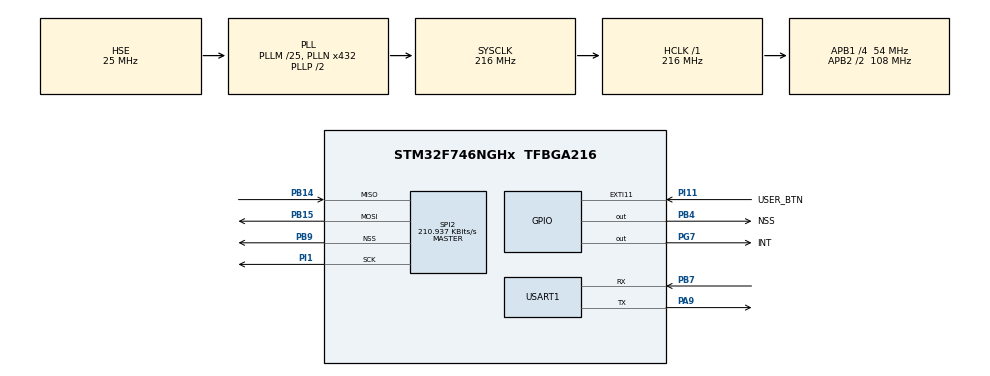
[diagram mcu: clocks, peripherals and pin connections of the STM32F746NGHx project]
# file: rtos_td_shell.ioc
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FREERTOS.Tasks01=defaultTask,0,128,StartDefaultTask,Default,NULL,Dynamic,NULL,NULL
FREERTOS.configCHECK_FOR_STACK_OVERFLOW=2
FREERTOS.configGENERATE_RUN_TIME_STATS=1
FREERTOS.configTOTAL_HEAP_SIZE=153600
FREERTOS.configUSE_STATS_FORMATTING_FUNCTIONS=1
FREERTOS.configUSE_TRACE_FACILITY=1
Mcu.Family=STM32F7
Mcu.Name=STM32F746NGHx
Mcu.Package=TFBGA216
NVIC.PriorityGroup=NVIC_PRIORITYGROUP_4
NVIC.TIM2_IRQn=true\:5\:0\:false\:false\:true\:true\:true\:true\:true
NVIC.USART1_IRQn=true\:5\:0\:false\:false\:true\:true\:true\:true\:true
PA13.Mode=Serial_Wire
PA13.Signal=SYS_JTMS-SWDIO
PA14.Mode=Serial_Wire
PA14.Signal=SYS_JTCK-SWCLK
PA9.Mode=Asynchronous
PA9.Signal=USART1_TX
PB14.Mode=Full_Duplex_Master
PB14.Signal=SPI2_MISO
PB15.Mode=Full_Duplex_Master
PB15.Signal=SPI2_MOSI
PB4.GPIO_Label=NSS
PB4.Signal=GPIO_Output
PB7.Mode=Asynchronous
PB7.Signal=USART1_RX
PB9.Mode=NSS_Signal_Hard_Output
PB9.Signal=SPI2_NSS
PG7.GPIO_Label=INT
PG7.Signal=GPIO_Output
PH0/OSC_IN.Mode=HSE-External-Oscillator
PH0/OSC_IN.Signal=RCC_OSC_IN
PH1/OSC_OUT.Mode=HSE-External-Oscillator
PH1/OSC_OUT.Signal=RCC_OSC_OUT
PI1.Mode=Full_Duplex_Master
PI1.Signal=SPI2_SCK
PI11.GPIO_Label=USER_BTN
PI11.Signal=GPXTI11
ProjectManager.HeapSize=0x200
ProjectManager.StackSize=0x400
ProjectManager.TargetToolchain=STM32CubeIDE
RCC.AHBFreq_Value=216000000
RCC.APB1CLKDivider=RCC_HCLK_DIV4
RCC.APB1Freq_Value=54000000
RCC.APB1TimFreq_Value=108000000
RCC.APB2CLKDivider=RCC_HCLK_DIV2
RCC.APB2Freq_Value=108000000
RCC.APB2TimFreq_Value=216000000
RCC.CortexFreq_Value=216000000
RCC.HCLKFreq_Value=216000000
RCC.HSE_VALUE=25000000
RCC.HSI_VALUE=16000000
RCC.LSE_VALUE=32768
RCC.PLLM=25
RCC.PLLN=432
RCC.PLLSourceVirtual=RCC_PLLSOURCE_HSE
RCC.SYSCLKFreq_VALUE=216000000
RCC.SYSCLKSource=RCC_SYSCLKSOURCE_PLLCLK
RCC.USBFreq_Value=216000000
RCC.VCOOutputFreq_Value=432000000
SPI2.BaudRatePrescaler=SPI_BAUDRATEPRESCALER_256
SPI2.CLKPhase=SPI_PHASE_2EDGE
SPI2.CLKPolarity=SPI_POLARITY_HIGH
SPI2.CalculateBaudRate=210.937 KBits/s
SPI2.DataSize=SPI_DATASIZE_8BIT
SPI2.Direction=SPI_DIRECTION_2LINES
SPI2.Mode=SPI_MODE_MASTER
SPI2.VirtualNSS=VM_NSSHARD
SPI2.VirtualType=VM_MASTER
TIM2.Prescaler=0
USART1.VirtualMode-Asynchronous=VM_ASYNC
VP_FREERTOS_VS_CMSIS_V1.Mode=CMSIS_V1
VP_TIM2_VS_ClockSourceINT.Mode=Internal
board=STM32F746G-DISCO

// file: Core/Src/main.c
/* USER CODE BEGIN Header */
/**
 ******************************************************************************
 * @file           : main.c
 * @brief          : Main program body
 ******************************************************************************
 * @attention
 *
 * Copyright (c) 2022 STMicroelectronics.
 * All rights reserved.
 *
 * This software is licensed under terms that can be found in the LICENSE file
 * in the root directory of this software component.
 * If no LICENSE file comes with this software, it is provided AS-IS.
 *
 ******************************************************************************
 */
/* USER CODE END Header */
#include "main.h"
#include "cmsis_os.h"
#include "spi.h"
#include "tim.h"
#include "usart.h"
#include "gpio.h"

/* USER CODE BEGIN Includes */
#include <stdio.h>
#include "shell.h"
#include <stdlib.h>
#include "stm32f7xx_hal_tim.h"

/* USER CODE END Includes */

void SystemClock_Config(void);
void MX_FREERTOS_Init(void);

/* USER CODE BEGIN 0 */

TaskHandle_t handle_TaskShell;
TaskHandle_t handle_Task_led;
TaskHandle_t handle_Task_bidon;
TaskHandle_t handle_vATaskFunction;

static int leddelay = 1;

int __io_putchar(int ch)
{
	HAL_UART_Transmit(&huart1, (uint8_t*)&ch, 1, HAL_MAX_DELAY);

	return ch;
}

//TD 4.2.6
int fonction(int argc, char ** argv)
{
	printf("argc = %d\r\n", argc);

	for (int itr = 0; itr < argc; itr++)
	{
		printf("argv[%d] = %s\r\n", itr, argv[itr]);
	}

	//	printf("Je suis une fonction bidon\r\n");

	return 0;
}

//TP 3.1.5
void Task_bidon( void *pvParameters)
{
	//int tab[1000];
	for(;;) {
		//for (int i=0;i<10000;i++){
		//	tab[i] = i;
		//	printf("tab[%d]\r\n",tab[i]);
	}
	//}
}

//TD 4.2.7
int addition(int argc, char ** argv)
{

	if (argc != 3)
	{
		//Plante proporement si le (ni plus, ni moins)
		//printf("Error, expected 2 args\r\n");
		Error_Handler();
		return -1;
	}
	else
	{
		int a, b;
		a = atoi(argv[1]); //atoi = ASCII to Interger
		b = atoi(argv[2]); //atoi = ASCII to Interger

		int c = a + b;

		printf ("%d + %d = %d\r\n", a, b, c);
	}
	//récupérer deux paramètre (ni plus, ni moins)
	//convertir les deux paramètres en nombres entiers
	//les additiionner et afficher le résultat

}

//TP 3.4

void HAL_TIM_PeriodElapsedCallback(TIM_HandleTypeDef *htim)
{

	if (htim->Instance == TIM2) {
		HAL_IncTick();
		FreeRTOSRunTimeTicks++;
	}

}

void statistique (int argc, char ** argv)
{
	static char buf[256];
	vTaskList(buf);
	printf ("%s \r\n",buf);
}

uint8_t ADXL345_ReadRegister(uint8_t regAddress)
{

	uint8_t receivedVal = 0;

	uint8_t address = regAddress | 0x80; // Le bit MSB doit être mis à 1 pour indiquer une lecture.

	// Sélectionner l'ADXL345 en passant le pin NSS à bas.
	HAL_GPIO_WritePin(NSS_GPIO_Port, NSS_Pin, GPIO_PIN_RESET);

	// Envoyer l'adresse du registre à lire.
	HAL_SPI_Transmit(&hspi2, &address, 1, HAL_MAX_DELAY);

	// Lire la valeur du registre.
	HAL_SPI_Receive(&hspi2, &receivedVal, 1, HAL_MAX_DELAY);

	// Désélectionner l'ADXL345 en passant le pin NSS à haut.
	HAL_GPIO_WritePin(NSS_GPIO_Port, NSS_Pin, GPIO_PIN_SET);

	return receivedVal;
}

uint8_t ADXL345_WriteRegister(uint8_t regAddress, uint8_t value)
{
	uint8_t data[2];
	data[0] = regAddress;
	data[1] = value;

	// Sélectionner l'ADXL345 en passant le pin NSS à bas.
	HAL_GPIO_WritePin(NSS_GPIO_Port, NSS_Pin, GPIO_PIN_RESET);

	// Envoyer l'adresse du registre à lire.
	HAL_SPI_Transmit(&hspi2, &data[0], 2, HAL_MAX_DELAY);

	// LEnvoyer la valuer du registre à lire.
	HAL_SPI_Receive(&hspi2, &data[1], 2, HAL_MAX_DELAY);

	// Désélectionner l'ADXL345 en passant le pin NSS à haut.
	HAL_GPIO_WritePin(NSS_GPIO_Port, NSS_Pin, GPIO_PIN_SET);

}

void test (int argc, char ** argv)
{

	uint8_t add[2] = {0x80, 0};
	uint8_t data[2] = {0, 0};

	HAL_GPIO_WritePin(NSS_GPIO_Port, NSS_Pin, GPIO_PIN_RESET);
	HAL_SPI_TransmitReceive(&hspi2, add, data, 2, 100);
	HAL_GPIO_WritePin(NSS_GPIO_Port, NSS_Pin, GPIO_PIN_SET);

	printf("DEVID(0x00): 0x%2x\r\n", data[1]); // Afficher la valeur lue, devrait être 0xE5 pour ADXL345

}

void lire4(int argc, char ** argv)
{
	ADXL345_WriteRegister(0x31, 0x01);
	ADXL345_WriteRegister(0x2d, 0x00);
	ADXL345_WriteRegister(0x2d, 0x08);

	uint8_t data[6]; // Tableau pour stocker les données des axes x, y, z (2 octets par axe)
	uint8_t regAddress = 0x32; // Adresse du premier registre de données de l'axe X
	regAddress |= 0x80; // Le bit de lecture doit être mis à 1

	uint16_t Sumx[4];
	uint16_t Sumy[4];
	uint16_t Sumz[4];

	for(int i = 0; i < 4; i++){

		HAL_GPIO_WritePin(NSS_GPIO_Port, NSS_Pin, GPIO_PIN_RESET);
		HAL_SPI_Transmit(&hspi2, &regAddress, 1, HAL_MAX_DELAY);
		HAL_SPI_Receive(&hspi2, data, 6, HAL_MAX_DELAY);
		HAL_GPIO_WritePin(NSS_GPIO_Port, NSS_Pin, GPIO_PIN_SET);

		uint16_t x = (int16_t)(data[1] << 8) | data[0];
		uint16_t y = (int16_t)(data[3] << 8) | data[2];
		uint16_t z = (int16_t)(data[5] << 8) | data[4];

		printf("X: %d, Y: %d, Z: %d\r\n", x, y, z);

		Sumx[i] = x;
		Sumy[i] = y;
		Sumz[i] = z;
	}

	uint16_t Moyx = (Sumx[0]+Sumx[1]+Sumx[2]+Sumx[3])/4;
	uint16_t Moyy = (Sumy[0]+Sumy[1]+Sumy[2]+Sumy[3])/4;
	uint16_t Moyz = (Sumz[0]+Sumz[1]+Sumz[2]+Sumz[3])/4;

	printf("La moyenne de x : %d\r\n",Moyx);
	printf("La moyenne de y : %d\r\n",Moyy);
	printf("La moyenne de z : %d\r\n",Moyz);

}

//TP 2.3
void Task_led ( void *pvParameters)
{

	for(;;){
		HAL_GPIO_TogglePin(LED_GPIO_Port, LED_Pin);
		vTaskDelay(leddelay);
	}
}

int led(int argc, char ** argv)
{
	if (argc != 2)
	{
		//Plante proporement si le (ni plus, ni moins)
		//printf("Error, expected 1 args\r\n");
		Error_Handler();
		return -1;
	}
	else
	{

		leddelay = atoi(argv[1]);

	}
	return 0;

}

//TP 2.4

int spam(int argc, char ** argv)
{
	if (argc != 2)
	{
		//Plante proporement si le (ni plus, ni moins)
		//printf("Error, expected 1 args\r\n");
		Error_Handler();
		return -1;
	}
	else
	{
		for (;;)
		{
			printf("%s\r\n", argv[1]);
		}
	}
	return 0;

}

void TaskShell(void *p)
{
	for(;;)
	{
		shell_init();
		shell_add('f', fonction, "Une fonction inutile");
		shell_add('a', addition, "Addition");
		shell_add('l', led, "Clignoter le LED");
		shell_add('s', spam, "Afficher le message");
		shell_add('i', statistique, "Afficher les statistiques");
		shell_add('t', test, "Tester l'ADXL345");
		shell_add('l',lire4, "Lire 4 valeurs consecutives dans l'ADXL345");
		shell_run();
	}
}

//TP 3.2.3

void vApplicationStackOverflowHook(TaskHandle_t xTask, char *pcTaskName)
{
	//Affichez le nom de la tâche qui a causé le débordement de la pile.
	printf("Stack overflow in task: %s\n", pcTaskName);

	//Empêchez que des interruptions ne viennent perturber le rapport d'erreur.
	portDISABLE_INTERRUPTS();

	//Bouclez indéfiniment pour que le comportement soit plus facile à détecter avec un débogueur.
	for( ;; );
}

//TP 3.2.4

void vATaskFunction(void *pvParameters)
{

	for(;;)
	{
		printf("Une tache est ici\r\n");
	}

}

//TP 3.3.6

void configureTimerForRunTimeStats(void){
	HAL_TIM_Base_Start(&htim2);
}

unsigned long getRunTimeCounterValue(void)
{
	// Récupérer la valeur courante du timer
	return (unsigned long)__HAL_TIM_GET_COUNTER(&htim2);
}

/* USER CODE END 0 */

int main(void)
{

	/* MCU Configuration--------------------------------------------------------*/

	/* Reset of all peripherals, Initializes the Flash interface and the Systick. */
	HAL_Init();

	/* Configure the system clock */
	SystemClock_Config();

	/* Initialize all configured peripherals */
	MX_GPIO_Init();
	MX_USART1_UART_Init();
	MX_TIM2_Init();
	MX_SPI2_Init();
	/* USER CODE BEGIN 2 */

	/*	BaseType_t ret;
	for (int z = 0; z < 200; z++) {
	ret = xTaskCreate(vATaskFunction, "ATask", 256, NULL, 6, &handle_vATaskFunction);
	if (ret == pdPASS){
		printf("la tache %d se cree\r\n",z);
	}
	else
	{
		Error_Handler();
	}
	}*/

	xTaskCreate(TaskShell, "TaskShell", 256, NULL, 5, &handle_TaskShell);
	//	xTaskCreate(Task_led, "Task_led", 256, NULL, 4, &handle_Task_led);

	//	for (int z = 0; z < 200; z++) {
	//		ret = xTaskCreate(Task_bidon, "Task_bidon", 256, NULL, 9, &handle_Task_bidon);
	//		if (ret == pdPASS){
	//			printf("la tache %d se cree\r\n", z);
	//		}
	//		else
	//		{
	//			printf("Error, la tache n'est pas cree\r\n");
	//			Error_Handler();
	//		}
	//	}

	vTaskStartScheduler();

	// Comme pour le scheduler, il ne se passe plus rien après cette ligne
	/* USER CODE END 2 */

	/* Call init function for freertos objects (in freertos.c) */
	MX_FREERTOS_Init();

	/* Start scheduler */
	osKernelStart();

	/* We should never get here as control is now taken by the scheduler */
	/* Infinite loop */
	while (1)
	{

	}
}

void SystemClock_Config(void)
{
	RCC_OscInitTypeDef RCC_OscInitStruct = {0};
	RCC_ClkInitTypeDef RCC_ClkInitStruct = {0};

	/** Configure the main internal regulator output voltage
	 */
	__HAL_RCC_PWR_CLK_ENABLE();
	__HAL_PWR_VOLTAGESCALING_CONFIG(PWR_REGULATOR_VOLTAGE_SCALE1);

	/** Initializes the RCC Oscillators according to the specified parameters
	 * in the RCC_OscInitTypeDef structure.
	 */
	RCC_OscInitStruct.OscillatorType = RCC_OSCILLATORTYPE_HSE;
	RCC_OscInitStruct.HSEState = RCC_HSE_ON;
	RCC_OscInitStruct.PLL.PLLState = RCC_PLL_ON;
	RCC_OscInitStruct.PLL.PLLSource = RCC_PLLSOURCE_HSE;
	RCC_OscInitStruct.PLL.PLLM = 25;
	RCC_OscInitStruct.PLL.PLLN = 432;
	RCC_OscInitStruct.PLL.PLLP = RCC_PLLP_DIV2;
	RCC_OscInitStruct.PLL.PLLQ = 2;
	if (HAL_RCC_OscConfig(&RCC_OscInitStruct) != HAL_OK)
	{
		Error_Handler();
	}

	/** Activate the Over-Drive mode
	 */
	if (HAL_PWREx_EnableOverDrive() != HAL_OK)
	{
		Error_Handler();
	}

	/** Initializes the CPU, AHB and APB buses clocks
	 */
	RCC_ClkInitStruct.ClockType = RCC_CLOCKTYPE_HCLK|RCC_CLOCKTYPE_SYSCLK
			|RCC_CLOCKTYPE_PCLK1|RCC_CLOCKTYPE_PCLK2;
	RCC_ClkInitStruct.SYSCLKSource = RCC_SYSCLKSOURCE_PLLCLK;
	RCC_ClkInitStruct.AHBCLKDivider = RCC_SYSCLK_DIV1;
	RCC_ClkInitStruct.APB1CLKDivider = RCC_HCLK_DIV4;
	RCC_ClkInitStruct.APB2CLKDivider = RCC_HCLK_DIV2;

	if (HAL_RCC_ClockConfig(&RCC_ClkInitStruct, FLASH_LATENCY_7) != HAL_OK)
	{
		Error_Handler();
	}
}

void Error_Handler(void)
{
	/* USER CODE BEGIN Error_Handler_Debug */
	/* User can add his own implementation to report the HAL error return state */
	printf("Il y a une erreur.\r\n");
	__disable_irq();

	while (1)
	{
	}
	/* USER CODE END Error_Handler_Debug */
}
